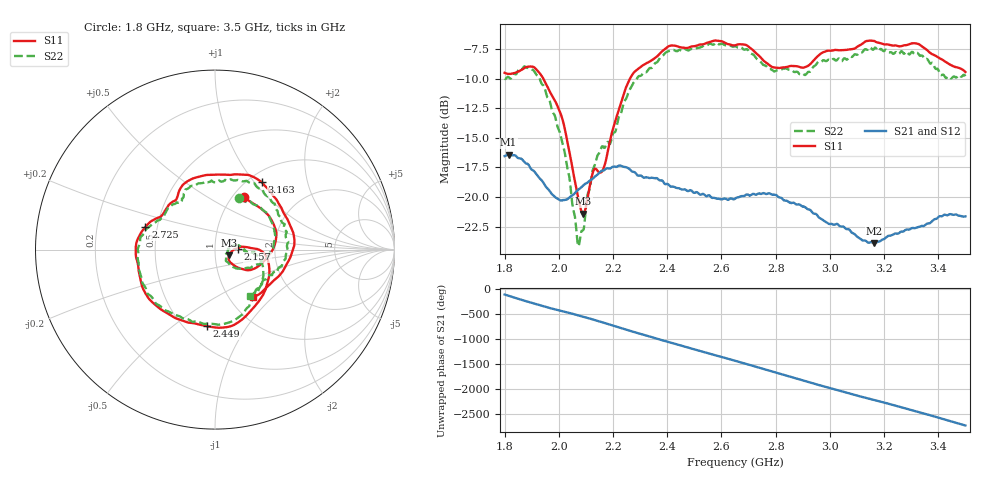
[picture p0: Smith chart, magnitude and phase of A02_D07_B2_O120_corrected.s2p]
! Created with skrf 1.9.0 (http://scikit-rf.org).
# Hz S RI R 50.0
!freq ReS11 ImS11 ReS21 ImS21 ReS12 ImS12 ReS22 ImS22
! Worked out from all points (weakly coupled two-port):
!   1601 points, 1.8 GHz to 3.5 GHz, reference 50 ohm
!   highest |S21| = -16.44 dB at 1.815 GHz (marker M1); lowest = -23.9 dB at 3.164 GHz (marker M2)
!   lowest |S11| = -21.4 dB at 2.09 GHz (marker M3), VSWR 1.19, Z = 58.4 - j3.8 ohm
!   |S11| at or under -10 dB: 1.943 GHz to 2.263 GHz (319.5 MHz wide, 15.2 % of centre)
!   |S22| runs from -24.2 to -7.0 dB; largest |S21 - S12| = 0.0029
!   S11 on the Smith chart (normalised r, x): 1.8 GHz: 1.13, +0.74; 2.157 GHz: 1.29, +0.01; 2.449 GHz: 0.64, -0.67; 2.725 GHz: 0.43, +0.13; 3.163 GHz: 1.15, +1.09; 3.5 GHz: 1.28, -0.76
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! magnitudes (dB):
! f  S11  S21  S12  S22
! 1.8 GHz  -9.5  -16.5  -16.6  -10.0
! 1.815 GHz  -9.6  -16.4  -16.4  -9.9
! 1.88 GHz  -9.0  -17.2  -17.2  -9.1
! 1.942 GHz  -10.0  -18.8  -18.8  -10.5
! 2.013 GHz  -13.4  -20.3  -20.3  -15.4
! 2.069 GHz  -19.8  -19.4  -19.5  -23.8
! 2.084 GHz  -21.2  -19.2  -19.1  -22.9
! 2.09 GHz  -21.4  -19.0  -19.1  -22.8
! 2.127 GHz  -17.8  -18.4  -18.4  -17.6
! 2.157 GHz  -17.9  -17.8  -17.8  -15.8
! 2.259 GHz  -10.2  -17.6  -17.6  -11.0
! 2.367 GHz  -8.0  -18.5  -18.5  -8.5
! 2.449 GHz  -7.4  -19.3  -19.3  -7.6
! 2.65 GHz  -7.2  -20.1  -20.1  -7.3
! 2.725 GHz  -7.8  -19.8  -19.8  -8.2
! 2.797 GHz  -9.1  -19.8  -19.8  -9.4
! 2.934 GHz  -8.6  -21.3  -21.3  -9.2
! 3.163 GHz  -6.8  -23.9  -23.9  -7.5
! 3.164 GHz  -6.8  -23.9  -23.9  -7.4
! 3.217 GHz  -7.1  -23.3  -23.3  -7.8
! 3.324 GHz  -7.0  -22.6  -22.5  -7.8
! 3.5 GHz  -9.4  -21.6  -21.6  -9.8
